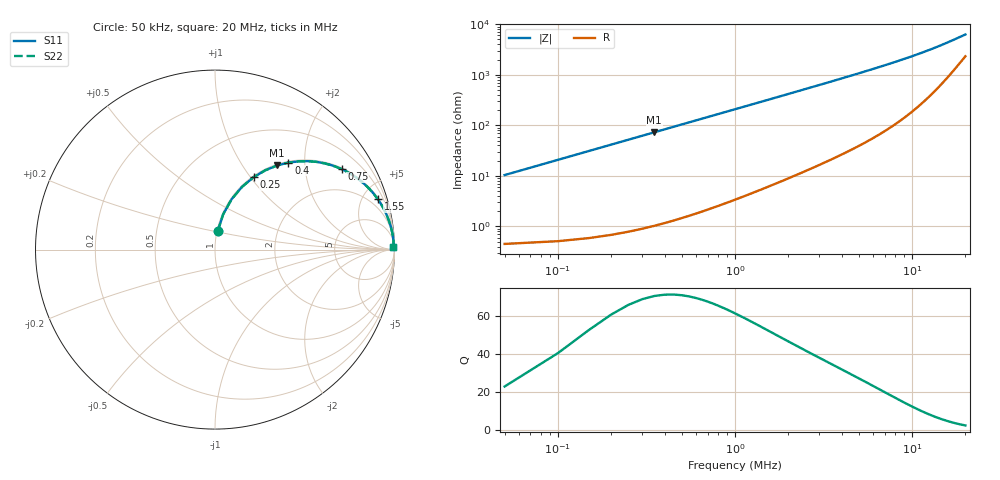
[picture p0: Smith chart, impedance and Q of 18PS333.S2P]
! Coilcraft 1812PS-333 Power Chip Inductor
! 1 October 2002
# MHZ S MA R 50
!Freq  MagS11  AngS11  MagS21  AngS21  MagS12  AngS12  MagS22  AngS22
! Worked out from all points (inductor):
!   400 points, 50 kHz to 20 MHz, reference 50 ohm
!   read as one part in series: L = 33 uH near 150 kHz
!   highest Q = 70.4 at 350 kHz (marker M1), where L = 33 uH
!   S11 on the Smith chart (normalised r, x): 50 kHz: 1.01, +0.21; 250 kHz: 1.02, +1.04; 400 kHz: 1.02, +1.66; 750 kHz: 1.05, +3.11; 1.55 MHz: 1.12, +6.44; 20 MHz: open
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0.05  0.1028 81.6  0.9903 -5.9  0.9903 -5.9  0.1028 81.6
0.1  0.2021 76.9  0.9744 -11.7  0.9744 -11.7  0.2021 76.9
0.15  0.2954 71.7  0.9498 -17.2  0.9498 -17.2  0.2954 71.7
0.2  0.3809 66.7  0.9184 -22.4  0.9184 -22.4  0.3809 66.7
0.25  0.4574 61.9  0.8823 -27.2  0.8823 -27.2  0.4574 61.9
0.35  0.5835 53.5  0.8039 -35.7  0.8039 -35.7  0.5835 53.5
0.4  0.6341 49.8  0.7644 -39.3  0.7644 -39.3  0.6341 49.8
0.55  0.7467 40.9  0.6546 -48.3  0.6546 -48.3  0.7467 40.9
0.65  0.7977 36.3  0.5916 -52.9  0.5916 -52.9  0.7977 36.3
0.75  0.8356 32.5  0.537 -56.7  0.537 -56.7  0.8356 32.5
0.9  0.8759 28.0  0.4689 -61.1  0.4689 -61.1  0.8759 28.0
1.1  0.9104 23.5  0.3986 -65.5  0.3986 -65.5  0.9104 23.5
1.3  0.9324 20.2  0.3453 -68.8  0.3453 -68.8  0.9324 20.2
1.55  0.9499 17.1  0.2948 -71.8  0.2948 -71.8  0.9499 17.1
2.35  0.9754 11.5  0.1989 -77.2  0.1989 -77.2  0.9754 11.5
3.4  0.9865 7.9  0.1381 -80.4  0.1381 -80.4  0.9865 7.9
4.85  0.992 5.5  0.09601 -82.4  0.09601 -82.4  0.992 5.5
6.7  0.9945 3.9  0.06797 -83.4  0.06797 -83.4  0.9945 3.9
10.05  0.9957 2.4  0.04254 -82.9  0.04254 -82.9  0.9957 2.4
13.35  0.9955 1.7  0.02938 -80.4  0.02938 -80.4  0.9955 1.7
16.7  0.9949 1.2  0.02114 -75.5  0.02114 -75.5  0.9949 1.2
20  0.994 0.8  0.01587 -67.4  0.01587 -67.4  0.994 0.8
